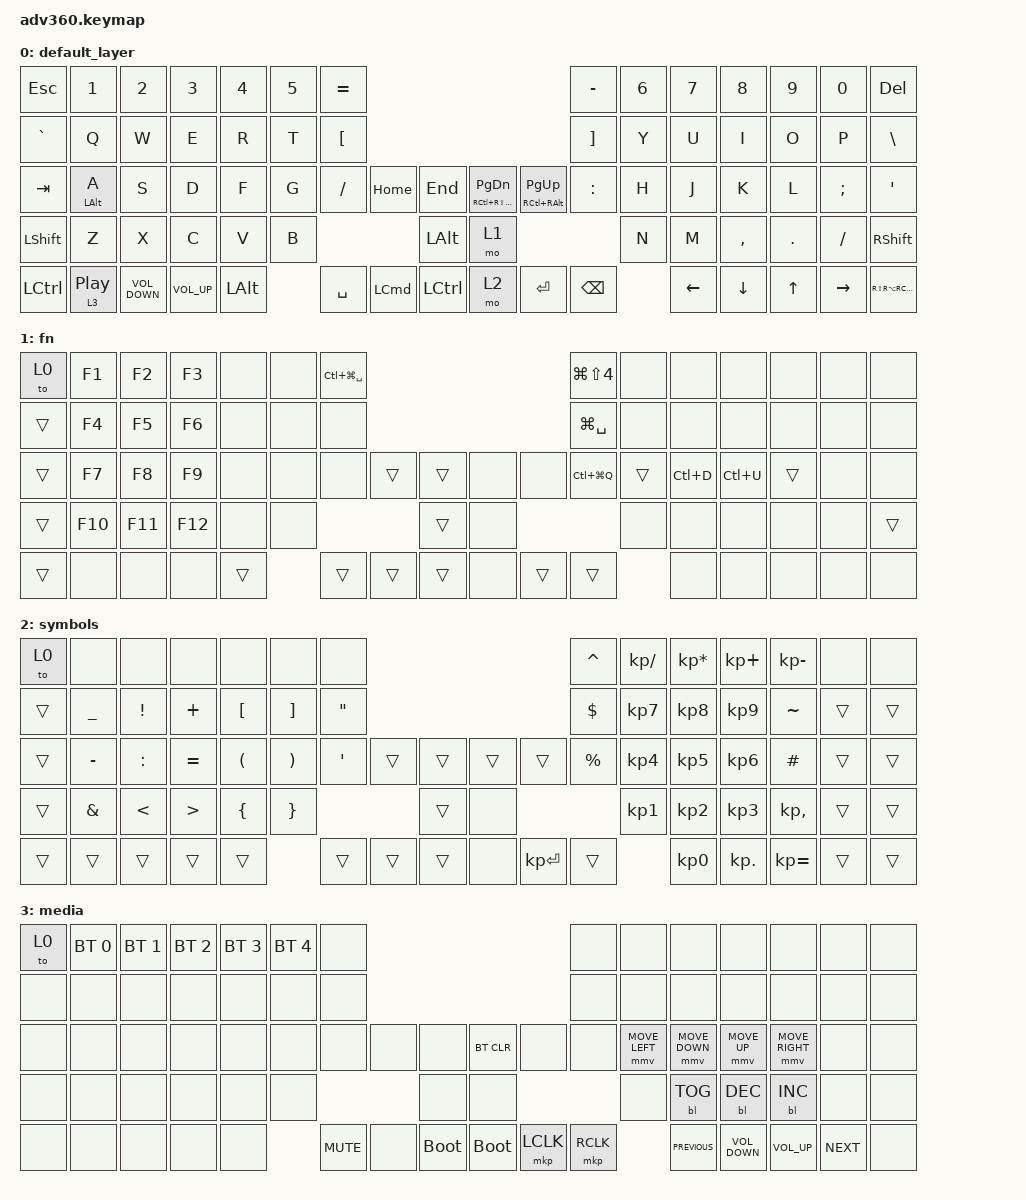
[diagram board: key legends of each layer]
/*
 * Copyright (c) 2020 The ZMK Contributors
 *
 * SPDX-License-Identifier: MIT
 */
/* THIS FILE WAS GENERATED!
 *
 * This file was generated automatically. You may or may not want to
 * edit it directly.
 */

#include <dt-bindings/zmk/mouse.h>
#include <behaviors.dtsi>
#include <dt-bindings/zmk/backlight.h>
#include <dt-bindings/zmk/bt.h>
#include <dt-bindings/zmk/keys.h>
#include <dt-bindings/zmk/pointing.h>

&mt {
    tapping-term-ms = <200>;
    flavor = "tap-preferred";
};

/ {
    behaviors {
        #include "macros.dtsi"
    #include "version.dtsi"

        hm: homerow_mods {
            compatible = "zmk,behavior-hold-tap";
            label = "HOMEROW_MODS";
            #binding-cells = <2>;
            tapping-term-ms = <200>;
            quick_tap_ms = <175>;
            flavor = "tap-preferred";
            bindings = <&kp>, <&kp>;
        };
    };

    combos {
        compatible = "zmk,combos";

        esc {
            bindings = <&kp ESCAPE>;
            key-positions = <41 42>;
        };
    };

    keymap {
        compatible = "zmk,keymap";

        default_layer {
            bindings = <
&kp ESC    &kp N1              &kp N2             &kp N3           &kp N4        &kp N5  &kp EQUAL                                                                                                    &kp MINUS          &kp N6  &kp N7    &kp N8     &kp N9   &kp N0     &kp DELETE
&kp GRAVE  &kp Q               &kp W              &kp E            &kp R         &kp T   &kp LEFT_BRACKET                                                                                             &kp RIGHT_BRACKET  &kp Y   &kp U     &kp I      &kp O    &kp P      &kp BSLH
&kp TAB    &mt LEFT_ALT A      &kp S              &kp D            &kp F         &kp G   &kp SLASH         &kp HOME          &kp END           &mt RC(RS(RIGHT_ALT)) PAGE_DOWN  &mt RC(RALT) PAGE_UP  &kp COLON          &kp H   &kp J     &kp K      &kp L    &kp SEMI   &kp SQT
&kp LSHFT  &kp Z               &kp X              &kp C            &kp V         &kp B                                       &kp LEFT_ALT      &mo 1                                                                     &kp N   &kp M     &kp COMMA  &kp DOT  &kp FSLH   &kp RSHFT
&kp LCTRL  &lt 3 C_PLAY_PAUSE  &kp C_VOLUME_DOWN  &kp C_VOLUME_UP  &kp LEFT_ALT          &kp SPACE         &kp LEFT_COMMAND  &kp LCTRL         &mo 2                            &kp ENTER             &kp BACKSPACE              &kp LEFT  &kp DOWN   &kp UP   &kp RIGHT  &kp RS(RA(RC(RIGHT_COMMAND)))
            >;
        };

        fn {
            bindings = <
&to 0   &kp F1   &kp F2   &kp F3   &none   &none  &kp LC(LG(SPACE))                                     &kp LG(LS(N4))  &none   &none      &none      &none   &none  &none
&trans  &kp F4   &kp F5   &kp F6   &none   &none  &none                                                 &kp LG(SPACE)   &none   &none      &none      &none   &none  &none
&trans  &kp F7   &kp F8   &kp F9   &none   &none  &none              &trans  &trans      &none  &none   &kp LC(LG(Q))   &trans  &kp LC(D)  &kp LC(U)  &trans  &none  &none
&trans  &kp F10  &kp F11  &kp F12  &none   &none                             &trans      &none                          &none   &none      &none      &none   &none  &trans
&trans  &none    &none    &none    &trans         &trans             &trans  &trans      &none  &trans  &trans                  &none      &none      &none   &none  &none
            >;
        };

        symbols {
            bindings = <
&to 0   &none           &none            &none             &none                 &none                  &none                                                        &kp CARET    &kp KP_DIVIDE    &kp KP_MULTIPLY  &kp KP_PLUS      &kp KP_MINUS  &none   &none
&trans  &kp UNDERSCORE  &kp EXCLAMATION  &kp PLUS          &kp LEFT_BRACKET      &kp RIGHT_BRACKET      &kp DOUBLE_QUOTES                                            &kp DOLLAR   &kp KP_NUMBER_7  &kp KP_NUMBER_8  &kp KP_NUMBER_9  &kp TILDE     &trans  &trans
&trans  &kp MINUS       &kp COLON        &kp EQUAL         &kp LEFT_PARENTHESIS  &kp RIGHT_PARENTHESIS  &kp SINGLE_QUOTE   &trans  &trans      &trans  &trans        &kp PERCENT  &kp KP_NUMBER_4  &kp KP_NUMBER_5  &kp KP_NUMBER_6  &kp HASH      &trans  &trans
&trans  &kp AMPERSAND   &kp LESS_THAN    &kp GREATER_THAN  &kp LEFT_BRACE        &kp RIGHT_BRACE                                   &trans      &none                              &kp KP_NUMBER_1  &kp KP_NUMBER_2  &kp KP_NUMBER_3  &kp KP_COMMA  &trans  &trans
&trans  &trans          &trans           &trans            &trans                                       &trans             &trans  &trans      &none   &kp KP_ENTER  &trans                        &kp KP_NUMBER_0  &kp KP_DOT       &kp KP_EQUAL  &trans  &trans
            >;
        };

        media {
            bindings = <
&to 0  &bt BT_SEL 0  &bt BT_SEL 1  &bt BT_SEL 2  &bt BT_SEL 3  &bt BT_SEL 4  &none                                                       &none      &none           &none           &none              &none            &none       &none
&none  &none         &none         &none         &none         &none         &none                                                       &none      &none           &none           &none              &none            &none       &none
&none  &none         &none         &none         &none         &none         &none       &none  &none            &bt BT_CLR   &none      &none      &mmv MOVE_LEFT  &mmv MOVE_DOWN  &mmv MOVE_UP       &mmv MOVE_RIGHT  &none       &none
&none  &none         &none         &none         &none         &none                            &none            &none                              &none           &bl BL_TOG      &bl BL_DEC         &bl BL_INC       &none       &none
&none  &none         &none         &none         &none                       &kp C_MUTE  &none  &bootloader      &bootloader  &mkp LCLK  &mkp RCLK                  &kp C_PREVIOUS  &kp C_VOLUME_DOWN  &kp C_VOLUME_UP  &kp C_NEXT  &none
            >;
        };
    };
};
